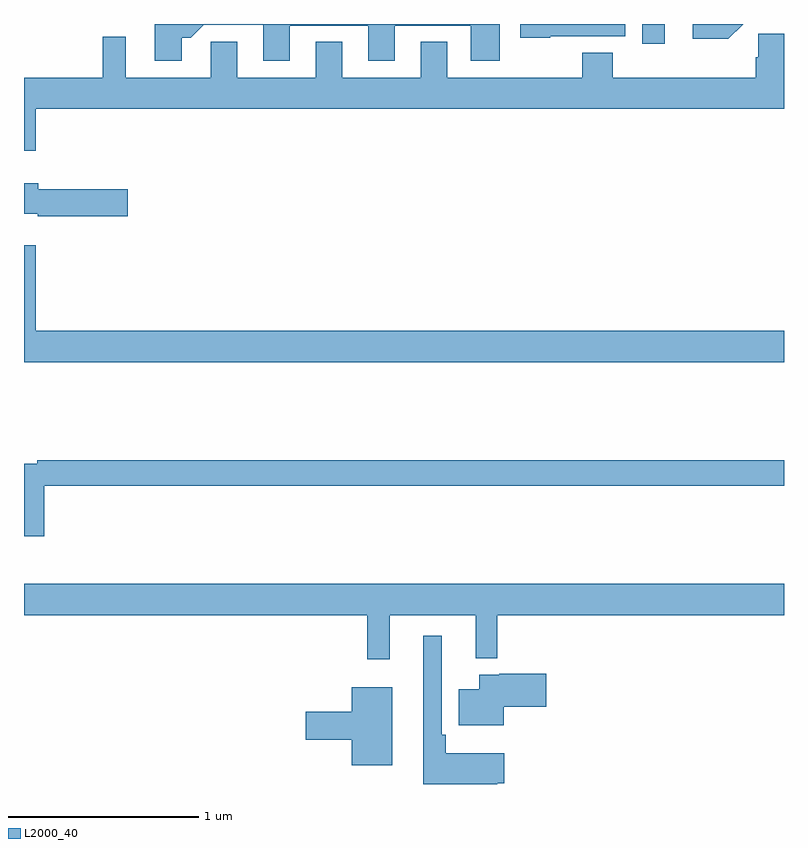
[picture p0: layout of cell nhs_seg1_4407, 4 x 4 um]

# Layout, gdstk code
import gdstk
lib = gdstk.Library(unit=1e-6, precision=1e-09)
def R(c, l, rs):  # rectangles x0, y0, x1, y1
    for r in rs: c.add(gdstk.rectangle(r[:2], r[2:], *l))
def P(c, l, *ps):  # polygons
    for p in ps: c.add(gdstk.Polygon(p, *l))
L2000_40 = (2000, 40)

nhs_seg1_4407 = lib.new_cell('nhs_seg1_4407')
R(nhs_seg1_4407, L2000_40, [(354.255,532.095,354.373,532.199)])
P(nhs_seg1_4407, L2000_40, [(354.785,532.199),(354.519,532.199),(354.519,532.121),(354.706,532.121)],
  [(351.829,532.127),(351.878,532.127),(351.945,532.194),(352.259,532.194),(352.259,532.005),(352.399,532.005),(352.399,532.191),(352.811,532.191),(352.811,532.005),(352.951,532.005),(352.951,532.191),(353.351,532.191),(353.351,532.005),(353.503,532.005),(353.503,532.199),(351.689,532.199),(351.689,532.005),(351.829,532.005)],
  [(353.769,532.134),(354.165,532.134),(354.165,532.199),(353.613,532.199),(353.613,532.127),(353.769,532.127)],
  [(351.061,531.752),(355,531.752),(355,532.148),(354.864,532.148),(354.864,532.025),(354.851,532.025),(354.851,531.916),(354.098,531.916),(354.098,532.049),(353.938,532.049),(353.938,531.916),(353.227,531.916),(353.227,532.106),(353.087,532.106),(353.087,531.916),(352.675,531.916),(352.675,532.106),(352.535,532.106),(352.535,531.916),(352.123,531.916),(352.123,532.106),(351.984,532.106),(351.984,531.916),(351.535,531.916),(351.535,532.132),(351.414,532.132),(351.414,531.916),(351,531.916),(351,531.531),(351.061,531.531)],
  [(351.547,531.33),(351.076,531.33),(351.076,531.361),(351,531.361),(351,531.2),(351.072,531.2),(351.072,531.188),(351.547,531.188)],
  [(355,530.584),(351.061,530.584),(351.061,531.034),(351,531.034),(351,530.42),(355,530.42)],
  [(351.107,529.768),(355,529.768),(355,529.904),(351.07,529.904),(351.07,529.884),(351,529.884),(351,529.503),(351.107,529.503)],
  [(352.925,529.088),(353.378,529.088),(353.378,528.86),(353.49,528.86),(353.49,529.088),(355,529.088),(355,529.252),(351,529.252),(351,529.088),(352.807,529.088),(352.807,528.855),(352.925,528.855)],
  [(353.492,528.203),(353.527,528.203),(353.527,528.361),(353.219,528.361),(353.219,528.457),(353.199,528.457),(353.199,528.979),(353.102,528.979),(353.102,528.199),(353.492,528.199)],
  [(353.524,528.605),(353.749,528.605),(353.749,528.78),(353.5,528.78),(353.5,528.775),(353.396,528.775),(353.396,528.697),(353.288,528.697),(353.288,528.509),(353.524,528.509)],
  [(352.939,528.709),(352.724,528.709),(352.724,528.578),(352.482,528.578),(352.482,528.431),(352.724,528.431),(352.724,528.299),(352.939,528.299)])

lib.write_gds('nhs_seg1_4407.gds')
